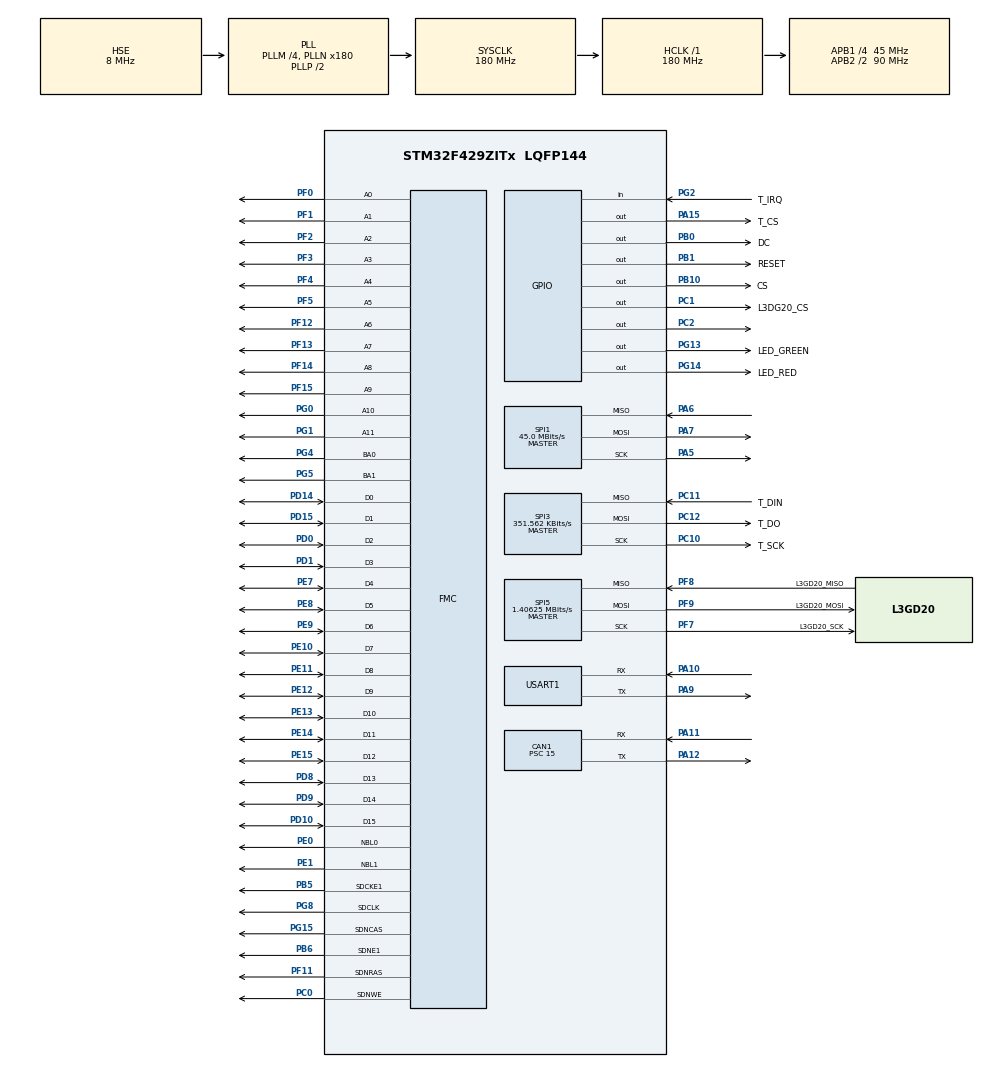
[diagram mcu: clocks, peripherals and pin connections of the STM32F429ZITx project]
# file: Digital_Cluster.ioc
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CAN1.BS1=CAN_BS1_2TQ
CAN1.BS2=CAN_BS2_3TQ
CAN1.CalculateBaudRate=500000
CAN1.CalculateTimeBit=2000
CAN1.CalculateTimeQuantum=333.3333333333333
CAN1.Prescaler=15
Dma.Request0=SPI1_TX
Dma.SPI1_TX.0.Direction=DMA_MEMORY_TO_PERIPH
Dma.SPI1_TX.0.FIFOMode=DMA_FIFOMODE_DISABLE
Dma.SPI1_TX.0.Instance=DMA2_Stream3
Dma.SPI1_TX.0.MemDataAlignment=DMA_MDATAALIGN_BYTE
Dma.SPI1_TX.0.MemInc=DMA_MINC_ENABLE
Dma.SPI1_TX.0.Mode=DMA_NORMAL
Dma.SPI1_TX.0.PeriphDataAlignment=DMA_PDATAALIGN_BYTE
Dma.SPI1_TX.0.PeriphInc=DMA_PINC_DISABLE
Dma.SPI1_TX.0.Priority=DMA_PRIORITY_LOW
FMC.CASLatency1=FMC_SDRAM_CAS_LATENCY_2
FMC.ExitSelfRefreshDelay1=7
FMC.LoadToActiveDelay1=2
FMC.RCDDelay1=2
FMC.RPDelay1=2
FMC.RPDelay2=2
FMC.ReadBurst1=FMC_SDRAM_RBURST_ENABLE
FMC.ReadBurst2=FMC_SDRAM_RBURST_ENABLE
FMC.RowCycleDelay1=6
FMC.RowCycleDelay2=6
FMC.SDClockPeriod1=FMC_SDRAM_CLOCK_PERIOD_2
FMC.SDClockPeriod2=FMC_SDRAM_CLOCK_PERIOD_2
FMC.SelfRefreshTime1=5
FMC.WriteRecoveryTime1=3
FREERTOS.Tasks01=defaultTask,8,256,StartDefaultTask,Default,NULL,Dynamic,NULL,NULL;cantask,48,1024,Can_Handler,As external,NULL,Dynamic,NULL,NULL;displaytask,40,1024,Display_Handler,As external,NULL,Dynamic,NULL,NULL;logtask,9,256,Log_Handler,As external,NULL,Dynamic,NULL,NULL;commontask,10,256,Common_Task,As external,NULL,Dynamic,NULL,NULL
FREERTOS.configCHECK_FOR_STACK_OVERFLOW=2
FREERTOS.configRECORD_STACK_HIGH_ADDRESS=1
FREERTOS.configTOTAL_HEAP_SIZE=15360
FREERTOS.configUSE_NEWLIB_REENTRANT=1
FREERTOS.configUSE_STATS_FORMATTING_FUNCTIONS=1
Mcu.Family=STM32F4
Mcu.Name=STM32F429ZITx
Mcu.Package=LQFP144
NVIC.CAN1_RX0_IRQn=true\:5\:0\:false\:false\:true\:true\:true\:true\:true
NVIC.CAN1_RX1_IRQn=true\:5\:0\:false\:false\:true\:true\:true\:true\:true
NVIC.CAN1_SCE_IRQn=true\:5\:0\:false\:false\:true\:true\:true\:true\:true
NVIC.CAN1_TX_IRQn=true\:5\:0\:false\:false\:true\:true\:true\:true\:true
NVIC.DMA2_Stream3_IRQn=true\:5\:0\:false\:false\:true\:true\:false\:true\:true
NVIC.FMC_IRQn=true\:5\:0\:false\:false\:true\:true\:true\:true\:true
NVIC.PriorityGroup=NVIC_PRIORITYGROUP_4
NVIC.SPI3_IRQn=true\:5\:0\:false\:false\:true\:true\:true\:true\:true
NVIC.SPI5_IRQn=true\:5\:0\:false\:false\:true\:true\:true\:true\:true
NVIC.TIM6_DAC_IRQn=true\:15\:0\:false\:false\:true\:false\:false\:true\:true
NVIC.TimeBase=TIM6_DAC_IRQn
NVIC.TimeBaseIP=TIM6
NVIC.USART1_IRQn=true\:5\:0\:false\:false\:true\:true\:true\:true\:true
PA10.Mode=Asynchronous
PA10.Signal=USART1_RX
PA11.Mode=CAN_Activate
PA11.Signal=CAN1_RX
PA12.Mode=CAN_Activate
PA12.Signal=CAN1_TX
PA13.Mode=Serial_Wire
PA13.Signal=SYS_JTMS-SWDIO
PA14.Mode=Serial_Wire
PA14.Signal=SYS_JTCK-SWCLK
PA15.GPIO_Label=T_CS
PA15.Signal=GPIO_Output
PA5.Mode=Full_Duplex_Master
PA5.Signal=SPI1_SCK
PA6.Mode=Full_Duplex_Master
PA6.Signal=SPI1_MISO
PA7.Mode=Full_Duplex_Master
PA7.Signal=SPI1_MOSI
PA9.Mode=Asynchronous
PA9.Signal=USART1_TX
PB0.GPIO_Label=DC
PB0.Signal=GPIO_Output
PB1.GPIO_Label=RESET
PB1.Signal=GPIO_Output
PB10.GPIO_Label=CS
PB10.Signal=GPIO_Output
PB5.Mode=SdramChipSelect2_1
PB5.Signal=FMC_SDCKE1
PB6.Mode=SdramChipSelect2_1
PB6.Signal=FMC_SDNE1
PC0.Signal=FMC_SDNWE
PC1.GPIO_Label=L3DG20_CS
PC1.Signal=GPIO_Output
PC10.GPIO_Label=T_SCK
PC10.Mode=Full_Duplex_Master
PC10.Signal=SPI3_SCK
PC11.GPIO_Label=T_DIN
PC11.Mode=Full_Duplex_Master
PC11.Signal=SPI3_MISO
PC12.GPIO_Label=T_DO
PC12.Mode=Full_Duplex_Master
PC12.Signal=SPI3_MOSI
PC14/OSC32_IN.Mode=LSE-External-Oscillator
PC14/OSC32_IN.Signal=RCC_OSC32_IN
PC15/OSC32_OUT.Mode=LSE-External-Oscillator
PC15/OSC32_OUT.Signal=RCC_OSC32_OUT
PC2.Signal=GPIO_Output
PD0.Signal=FMC_D2_DA2
PD1.Signal=FMC_D3_DA3
PD10.Signal=FMC_D15_DA15
PD14.Signal=FMC_D0_DA0
PD15.Signal=FMC_D1_DA1
PD8.Signal=FMC_D13_DA13
PD9.Signal=FMC_D14_DA14
PE0.Signal=FMC_NBL0
PE1.Signal=FMC_NBL1
PE10.Signal=FMC_D7_DA7
PE11.Signal=FMC_D8_DA8
PE12.Signal=FMC_D9_DA9
PE13.Signal=FMC_D10_DA10
PE14.Signal=FMC_D11_DA11
PE15.Signal=FMC_D12_DA12
PE7.Signal=FMC_D4_DA4
PE8.Signal=FMC_D5_DA5
PE9.Signal=FMC_D6_DA6
PF0.Signal=FMC_A0
PF1.Signal=FMC_A1
PF11.Signal=FMC_SDNRAS
PF12.Signal=FMC_A6
PF13.Signal=FMC_A7
PF14.Signal=FMC_A8
PF15.Signal=FMC_A9
PF2.Signal=FMC_A2
PF3.Signal=FMC_A3
PF4.Signal=FMC_A4
PF5.Signal=FMC_A5
PF7.GPIO_Label=L3GD20_SCK
PF7.Mode=Full_Duplex_Master
PF7.Signal=SPI5_SCK
PF8.GPIO_Label=L3GD20_MISO
PF8.Mode=Full_Duplex_Master
PF8.Signal=SPI5_MISO
PF9.GPIO_Label=L3GD20_MOSI
PF9.Mode=Full_Duplex_Master
PF9.Signal=SPI5_MOSI
PG0.Signal=FMC_A10
PG1.Signal=FMC_A11
PG13.GPIO_Label=LED_GREEN
PG13.Signal=GPIO_Output
PG14.GPIO_Label=LED_RED
PG14.Signal=GPIO_Output
PG15.Signal=FMC_SDNCAS
PG2.GPIO_Label=T_IRQ
PG2.Signal=GPIO_Input
PG4.Signal=FMC_A14_BA0
PG5.Signal=FMC_A15_BA1
PG8.Signal=FMC_SDCLK
PH0/OSC_IN.Mode=HSE-External-Oscillator
PH0/OSC_IN.Signal=RCC_OSC_IN
PH1/OSC_OUT.Mode=HSE-External-Oscillator
PH1/OSC_OUT.Signal=RCC_OSC_OUT
ProjectManager.HeapSize=0x200
ProjectManager.StackSize=0x400
ProjectManager.TargetToolchain=STM32CubeIDE
RCC.48MHZClocksFreq_Value=45000000
RCC.AHBFreq_Value=180000000
RCC.APB1CLKDivider=RCC_HCLK_DIV4
RCC.APB1Freq_Value=45000000
RCC.APB1TimFreq_Value=90000000
RCC.APB2CLKDivider=RCC_HCLK_DIV2
RCC.APB2Freq_Value=90000000
RCC.APB2TimFreq_Value=180000000
RCC.CortexFreq_Value=180000000
RCC.HCLKFreq_Value=180000000
RCC.HSE_VALUE=8000000
RCC.HSI_VALUE=16000000
RCC.PLLM=4
RCC.PLLN=180
RCC.PLLQ=8
RCC.PLLSourceVirtual=RCC_PLLSOURCE_HSE
RCC.RCC_RTC_Clock_SourceVirtual=RCC_RTCCLKSOURCE_LSE
RCC.SYSCLKFreq_VALUE=180000000
RCC.SYSCLKSource=RCC_SYSCLKSOURCE_PLLCLK
RCC.VCOOutputFreq_Value=360000000
RTC.Date=2
RTC.Format=RTC_FORMAT_BCD
RTC.Hours=12
RTC.Month=RTC_MONTH_OCTOBER
RTC.StoreOperation=RTC_STOREOPERATION_SET
RTC.WeekDay=RTC_WEEKDAY_THURSDAY
RTC.Year=25
SH.FMC_A0.0=FMC_A0,12b-sda1
SH.FMC_A1.0=FMC_A1,12b-sda1
SH.FMC_A10.0=FMC_A10,12b-sda1
SH.FMC_A11.0=FMC_A11,12b-sda1
SH.FMC_A14_BA0.0=FMC_BA0,FourSdramBanks1
SH.FMC_A15_BA1.0=FMC_BA1,FourSdramBanks1
SH.FMC_A2.0=FMC_A2,12b-sda1
SH.FMC_A3.0=FMC_A3,12b-sda1
SH.FMC_A4.0=FMC_A4,12b-sda1
SH.FMC_A5.0=FMC_A5,12b-sda1
SH.FMC_A6.0=FMC_A6,12b-sda1
SH.FMC_A7.0=FMC_A7,12b-sda1
SH.FMC_A8.0=FMC_A8,12b-sda1
SH.FMC_A9.0=FMC_A9,12b-sda1
SH.FMC_D0_DA0.0=FMC_D0,sd-16b-d1
SH.FMC_D10_DA10.0=FMC_D10,sd-16b-d1
SH.FMC_D11_DA11.0=FMC_D11,sd-16b-d1
SH.FMC_D12_DA12.0=FMC_D12,sd-16b-d1
SH.FMC_D13_DA13.0=FMC_D13,sd-16b-d1
SH.FMC_D14_DA14.0=FMC_D14,sd-16b-d1
SH.FMC_D15_DA15.0=FMC_D15,sd-16b-d1
SH.FMC_D1_DA1.0=FMC_D1,sd-16b-d1
SH.FMC_D2_DA2.0=FMC_D2,sd-16b-d1
SH.FMC_D3_DA3.0=FMC_D3,sd-16b-d1
SH.FMC_D4_DA4.0=FMC_D4,sd-16b-d1
SH.FMC_D5_DA5.0=FMC_D5,sd-16b-d1
SH.FMC_D6_DA6.0=FMC_D6,sd-16b-d1
SH.FMC_D7_DA7.0=FMC_D7,sd-16b-d1
SH.FMC_D8_DA8.0=FMC_D8,sd-16b-d1
SH.FMC_D9_DA9.0=FMC_D9,sd-16b-d1
SH.FMC_NBL0.0=FMC_NBL0,Sd2ByteEnable1
SH.FMC_NBL1.0=FMC_NBL1,Sd2ByteEnable1
SH.FMC_SDCLK.0=FMC_SDCLK,12b-sda1
SH.FMC_SDNCAS.0=FMC_SDNCAS,12b-sda1
SH.FMC_SDNRAS.0=FMC_SDNRAS,12b-sda1
SH.FMC_SDNWE.0=FMC_SDNWE,12b-sda1
SPI1.BaudRatePrescaler=SPI_BAUDRATEPRESCALER_2
SPI1.CLKPolarity=SPI_POLARITY_LOW
SPI1.CalculateBaudRate=45.0 MBits/s
SPI1.Direction=SPI_DIRECTION_2LINES
SPI1.Mode=SPI_MODE_MASTER
SPI1.VirtualType=VM_MASTER
SPI3.BaudRatePrescaler=SPI_BAUDRATEPRESCALER_128
SPI3.CalculateBaudRate=351.562 KBits/s
SPI3.Direction=SPI_DIRECTION_2LINES
SPI3.Mode=SPI_MODE_MASTER
SPI3.VirtualType=VM_MASTER
SPI5.BaudRatePrescaler=SPI_BAUDRATEPRESCALER_64
SPI5.CLKPhase=SPI_PHASE_2EDGE
SPI5.CLKPolarity=SPI_POLARITY_HIGH
SPI5.CalculateBaudRate=1.40625 MBits/s
SPI5.Direction=SPI_DIRECTION_2LINES
SPI5.Mode=SPI_MODE_MASTER
SPI5.VirtualType=VM_MASTER
STMicroelectronics.X-CUBE-AI.10.2.0.HeapSize=0x800
STMicroelectronics.X-CUBE-AI.10.2.0.ModelActualCompression-c4c612200d39c134d31054f2b4c9227c15ce056d76292374ecc4cde34c427f1f=0.0
STMicroelectronics.X-CUBE-AI.10.2.0.ModelCompression-c4c612200d39c134d31054f2b4c9227c15ce056d76292374ecc4cde34c427f1f=None
STMicroelectronics.X-CUBE-AI.10.2.0.ModelFlashOccupation-c4c612200d39c134d31054f2b4c9227c15ce056d76292374ecc4cde34c427f1f=0
STMicroelectronics.X-CUBE-AI.10.2.0.ModelHashList=c4c612200d39c134d31054f2b4c9227c15ce056d76292374ecc4cde34c427f1f
STMicroelectronics.X-CUBE-AI.10.2.0.ModelKind-c4c612200d39c134d31054f2b4c9227c15ce056d76292374ecc4cde34c427f1f=KERAS
STMicroelectronics.X-CUBE-AI.10.2.0.ModelMacc-c4c612200d39c134d31054f2b4c9227c15ce056d76292374ecc4cde34c427f1f=0
STMicroelectronics.X-CUBE-AI.10.2.0.ModelName-c4c612200d39c134d31054f2b4c9227c15ce056d76292374ecc4cde34c427f1f=network
STMicroelectronics.X-CUBE-AI.10.2.0.ModelNameList=network
STMicroelectronics.X-CUBE-AI.10.2.0.ModelRamOccupation-c4c612200d39c134d31054f2b4c9227c15ce056d76292374ecc4cde34c427f1f=0
STMicroelectronics.X-CUBE-AI.10.2.0.ModelType-c4c612200d39c134d31054f2b4c9227c15ce056d76292374ecc4cde34c427f1f=STM32Cube.AI MCU runtime
STMicroelectronics.X-CUBE-AI.10.2.0.ReadyForCodeGeneration=false
STMicroelectronics.X-CUBE-AI.10.2.0.StackSize=0x800
STMicroelectronics.X-CUBE-AI.10.2.0.WorkingBufferStartAddrList=0xFFFFFFFF
STMicroelectronics.X-CUBE-AI.10.2.0.copyWeightToRam=false
STMicroelectronics.X-CUBE-AI.10.2.0.customLayerConfigEnabled=false
STMicroelectronics.X-CUBE-AI.10.2.0.noOnnxIoTranspose=false
STMicroelectronics.X-CUBE-AI.10.2.0.useInputAllocation=true
STMicroelectronics.X-CUBE-AI.10.2.0.useOutputAllocation=true
USART1.VirtualMode=VM_ASYNC
VP_FREERTOS_VS_CMSIS_V2.Mode=CMSIS_V2
VP_RTC_VS_RTC_Activate.Mode=RTC_Enabled
VP_RTC_VS_RTC_Calendar.Mode=RTC_Calendar
VP_SYS_VS_tim6.Mode=TIM6
board=custom

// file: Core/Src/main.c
/* USER CODE BEGIN Header */
/**
 ******************************************************************************
 * @file           : main.c
 * @brief          : Main program body
 ******************************************************************************
 * @attention
 *
 * Copyright (c) 2025 STMicroelectronics.
 * All rights reserved.
 *
 * This software is licensed under terms that can be found in the LICENSE file
 * in the root directory of this software component.
 * If no LICENSE file comes with this software, it is provided AS-IS.
 *
 ******************************************************************************
 */
/* USER CODE END Header */
#include "main.h"
#include "cmsis_os.h"

/* USER CODE BEGIN Includes */

#include "../Device_Driver/lvgl_port_disp.h"
#include "../Device_Driver/ST7789/ST7789_GFX.h"
#include "../Device_Driver/ST7789/ST7789_STM32_Driver.h"
#include "../Device_Driver/FMC_Driver/fmc_driver.h"
#include "../App/Handler_task.h"
#include "ui.h"
#include "task.h"
#include <stdio.h>
#include "../App/display_task.h"
#include "../App/can_task.h"

/* USER CODE END Includes */

/* USER CODE BEGIN PM */
EXTERNAL_SDRAM uint32_t count_externalram;
/* USER CODE END PM */

CAN_HandleTypeDef hcan1;

RTC_HandleTypeDef hrtc;

SPI_HandleTypeDef hspi1;
SPI_HandleTypeDef hspi3;
SPI_HandleTypeDef hspi5;
DMA_HandleTypeDef hdma_spi1_tx;

UART_HandleTypeDef huart1;

SDRAM_HandleTypeDef hsdram1;

/* Definitions for defaultTask */
osThreadId_t defaultTaskHandle;
const osThreadAttr_t defaultTask_attributes = {
  .name = "defaultTask",
  .stack_size = 256 * 4,
  .priority = (osPriority_t) osPriorityLow,
};
/* Definitions for cantask */
osThreadId_t cantaskHandle;
const osThreadAttr_t cantask_attributes = {
  .name = "cantask",
  .stack_size = 1024 * 4,
  .priority = (osPriority_t) osPriorityRealtime,
};
/* Definitions for displaytask */
osThreadId_t displaytaskHandle;
const osThreadAttr_t displaytask_attributes = {
  .name = "displaytask",
  .stack_size = 1024 * 4,
  .priority = (osPriority_t) osPriorityHigh,
};
/* Definitions for logtask */
osThreadId_t logtaskHandle;
const osThreadAttr_t logtask_attributes = {
  .name = "logtask",
  .stack_size = 256 * 4,
  .priority = (osPriority_t) osPriorityLow1,
};
/* Definitions for commontask */
osThreadId_t commontaskHandle;
const osThreadAttr_t commontask_attributes = {
  .name = "commontask",
  .stack_size = 256 * 4,
  .priority = (osPriority_t) osPriorityLow2,
};

void SystemClock_Config(void);
static void MX_GPIO_Init(void);
static void MX_DMA_Init(void);
static void MX_SPI1_Init(void);
static void MX_USART1_UART_Init(void);
static void MX_RTC_Init(void);
static void MX_SPI3_Init(void);
static void MX_SPI5_Init(void);
static void MX_CAN1_Init(void);
static void MX_FMC_Init(void);
void StartDefaultTask(void *argument);
extern void Can_Handler(void *argument);
extern void Display_Handler(void *argument);
extern void Log_Handler(void *argument);
extern void Common_Task(void *argument);

/* USER CODE BEGIN 0 */

void PrintTaskMemoryUsage(void)
{
    // Cấp một buffer đủ lớn để chứa chuỗi text bảng thống kê
    char statsBuffer[512];
    vTaskList(statsBuffer);

    printf("\r\n--- TASK MEMORY USAGE ---\r\n");
    printf("Name\t\tState\tPrio\tStackRemaining\tNum\r\n");
    printf("--------------------------------------------------\r\n");
    printf("%s\r\n", statsBuffer);
}
/* USER CODE END 0 */

int main(void)
{

  /* MCU Configuration--------------------------------------------------------*/

  /* Reset of all peripherals, Initializes the Flash interface and the Systick. */
  HAL_Init();

  /* Configure the system clock */
  SystemClock_Config();

  /* Initialize all configured peripherals */
  MX_GPIO_Init();
  MX_DMA_Init();
  MX_SPI1_Init();
  MX_USART1_UART_Init();
  MX_RTC_Init();
  MX_SPI3_Init();
  MX_SPI5_Init();
  MX_CAN1_Init();
  MX_FMC_Init();
  /* USER CODE BEGIN 2 */
  FMC_Config();
  /* USER CODE END 2 */

  /* Init scheduler */
  osKernelInitialize();

  /* Create the thread(s) */
  /* creation of defaultTask */
  defaultTaskHandle = osThreadNew(StartDefaultTask, NULL, &defaultTask_attributes);

  /* creation of cantask */
  cantaskHandle = osThreadNew(Can_Handler, NULL, &cantask_attributes);

  /* creation of displaytask */
  displaytaskHandle = osThreadNew(Display_Handler, NULL, &displaytask_attributes);

  /* creation of logtask */
  logtaskHandle = osThreadNew(Log_Handler, NULL, &logtask_attributes);

  /* creation of commontask */
  commontaskHandle = osThreadNew(Common_Task, NULL, &commontask_attributes);

  /* Start scheduler */
  osKernelStart();

  /* We should never get here as control is now taken by the scheduler */
  /* Infinite loop */
  while (1) {

    /* USER CODE BEGIN 3 */

    /* USER CODE END WHILE */

    /* USER CODE BEGIN 3 */
  }
  /* USER CODE END 3 */
}

void SystemClock_Config(void)
{
  RCC_OscInitTypeDef RCC_OscInitStruct = {0};
  RCC_ClkInitTypeDef RCC_ClkInitStruct = {0};

  /** Configure the main internal regulator output voltage
  */
  __HAL_RCC_PWR_CLK_ENABLE();
  __HAL_PWR_VOLTAGESCALING_CONFIG(PWR_REGULATOR_VOLTAGE_SCALE1);

  /** Initializes the RCC Oscillators according to the specified parameters
  * in the RCC_OscInitTypeDef structure.
  */
  RCC_OscInitStruct.OscillatorType = RCC_OSCILLATORTYPE_HSE|RCC_OSCILLATORTYPE_LSE;
  RCC_OscInitStruct.HSEState = RCC_HSE_ON;
  RCC_OscInitStruct.LSEState = RCC_LSE_ON;
  RCC_OscInitStruct.PLL.PLLState = RCC_PLL_ON;
  RCC_OscInitStruct.PLL.PLLSource = RCC_PLLSOURCE_HSE;
  RCC_OscInitStruct.PLL.PLLM = 4;
  RCC_OscInitStruct.PLL.PLLN = 180;
  RCC_OscInitStruct.PLL.PLLP = RCC_PLLP_DIV2;
  RCC_OscInitStruct.PLL.PLLQ = 8;
  if (HAL_RCC_OscConfig(&RCC_OscInitStruct) != HAL_OK)
  {
    Error_Handler();
  }

  /** Activate the Over-Drive mode
  */
  if (HAL_PWREx_EnableOverDrive() != HAL_OK)
  {
    Error_Handler();
  }

  /** Initializes the CPU, AHB and APB buses clocks
  */
  RCC_ClkInitStruct.ClockType = RCC_CLOCKTYPE_HCLK|RCC_CLOCKTYPE_SYSCLK
                              |RCC_CLOCKTYPE_PCLK1|RCC_CLOCKTYPE_PCLK2;
  RCC_ClkInitStruct.SYSCLKSource = RCC_SYSCLKSOURCE_PLLCLK;
  RCC_ClkInitStruct.AHBCLKDivider = RCC_SYSCLK_DIV1;
  RCC_ClkInitStruct.APB1CLKDivider = RCC_HCLK_DIV4;
  RCC_ClkInitStruct.APB2CLKDivider = RCC_HCLK_DIV2;

  if (HAL_RCC_ClockConfig(&RCC_ClkInitStruct, FLASH_LATENCY_5) != HAL_OK)
  {
    Error_Handler();
  }
}

static void MX_CAN1_Init(void)
{

  hcan1.Instance = CAN1;
  hcan1.Init.Prescaler = 15;
  hcan1.Init.Mode = CAN_MODE_NORMAL;
  hcan1.Init.SyncJumpWidth = CAN_SJW_1TQ;
  hcan1.Init.TimeSeg1 = CAN_BS1_2TQ;
  hcan1.Init.TimeSeg2 = CAN_BS2_3TQ;
  hcan1.Init.TimeTriggeredMode = DISABLE;
  hcan1.Init.AutoBusOff = DISABLE;
  hcan1.Init.AutoWakeUp = DISABLE;
  hcan1.Init.AutoRetransmission = DISABLE;
  hcan1.Init.ReceiveFifoLocked = DISABLE;
  hcan1.Init.TransmitFifoPriority = DISABLE;
  if (HAL_CAN_Init(&hcan1) != HAL_OK)
  {
    Error_Handler();
  }

}

static void MX_RTC_Init(void)
{

  RTC_TimeTypeDef sTime = {0};
  RTC_DateTypeDef sDate = {0};

  /** Initialize RTC Only
  */
  hrtc.Instance = RTC;
  hrtc.Init.HourFormat = RTC_HOURFORMAT_24;
  hrtc.Init.AsynchPrediv = 127;
  hrtc.Init.SynchPrediv = 255;
  hrtc.Init.OutPut = RTC_OUTPUT_DISABLE;
  hrtc.Init.OutPutPolarity = RTC_OUTPUT_POLARITY_HIGH;
  hrtc.Init.OutPutType = RTC_OUTPUT_TYPE_OPENDRAIN;
  if (HAL_RTC_Init(&hrtc) != HAL_OK)
  {
    Error_Handler();
  }

  /** Initialize RTC and set the Time and Date
  */
  sTime.Hours = 0x12;
  sTime.Minutes = 0x0;
  sTime.Seconds = 0x0;
  sTime.DayLightSaving = RTC_DAYLIGHTSAVING_NONE;
  sTime.StoreOperation = RTC_STOREOPERATION_SET;
  if (HAL_RTC_SetTime(&hrtc, &sTime, RTC_FORMAT_BCD) != HAL_OK)
  {
    Error_Handler();
  }
  sDate.WeekDay = RTC_WEEKDAY_THURSDAY;
  sDate.Month = RTC_MONTH_OCTOBER;
  sDate.Date = 0x2;
  sDate.Year = 0x25;

  if (HAL_RTC_SetDate(&hrtc, &sDate, RTC_FORMAT_BCD) != HAL_OK)
  {
    Error_Handler();
  }

}

static void MX_SPI1_Init(void)
{

  /* SPI1 parameter configuration*/
  hspi1.Instance = SPI1;
  hspi1.Init.Mode = SPI_MODE_MASTER;
  hspi1.Init.Direction = SPI_DIRECTION_2LINES;
  hspi1.Init.DataSize = SPI_DATASIZE_8BIT;
  hspi1.Init.CLKPolarity = SPI_POLARITY_LOW;
  hspi1.Init.CLKPhase = SPI_PHASE_1EDGE;
  hspi1.Init.NSS = SPI_NSS_SOFT;
  hspi1.Init.BaudRatePrescaler = SPI_BAUDRATEPRESCALER_2;
  hspi1.Init.FirstBit = SPI_FIRSTBIT_MSB;
  hspi1.Init.TIMode = SPI_TIMODE_DISABLE;
  hspi1.Init.CRCCalculation = SPI_CRCCALCULATION_DISABLE;
  hspi1.Init.CRCPolynomial = 10;
  if (HAL_SPI_Init(&hspi1) != HAL_OK)
  {
    Error_Handler();
  }

}

static void MX_SPI3_Init(void)
{

  /* SPI3 parameter configuration*/
  hspi3.Instance = SPI3;
  hspi3.Init.Mode = SPI_MODE_MASTER;
  hspi3.Init.Direction = SPI_DIRECTION_2LINES;
  hspi3.Init.DataSize = SPI_DATASIZE_8BIT;
  hspi3.Init.CLKPolarity = SPI_POLARITY_LOW;
  hspi3.Init.CLKPhase = SPI_PHASE_1EDGE;
  hspi3.Init.NSS = SPI_NSS_SOFT;
  hspi3.Init.BaudRatePrescaler = SPI_BAUDRATEPRESCALER_128;
  hspi3.Init.FirstBit = SPI_FIRSTBIT_MSB;
  hspi3.Init.TIMode = SPI_TIMODE_DISABLE;
  hspi3.Init.CRCCalculation = SPI_CRCCALCULATION_DISABLE;
  hspi3.Init.CRCPolynomial = 10;
  if (HAL_SPI_Init(&hspi3) != HAL_OK)
  {
    Error_Handler();
  }

}

static void MX_SPI5_Init(void)
{

  /* SPI5 parameter configuration*/
  hspi5.Instance = SPI5;
  hspi5.Init.Mode = SPI_MODE_MASTER;
  hspi5.Init.Direction = SPI_DIRECTION_2LINES;
  hspi5.Init.DataSize = SPI_DATASIZE_8BIT;
  hspi5.Init.CLKPolarity = SPI_POLARITY_HIGH;
  hspi5.Init.CLKPhase = SPI_PHASE_2EDGE;
  hspi5.Init.NSS = SPI_NSS_SOFT;
  hspi5.Init.BaudRatePrescaler = SPI_BAUDRATEPRESCALER_64;
  hspi5.Init.FirstBit = SPI_FIRSTBIT_MSB;
  hspi5.Init.TIMode = SPI_TIMODE_DISABLE;
  hspi5.Init.CRCCalculation = SPI_CRCCALCULATION_DISABLE;
  hspi5.Init.CRCPolynomial = 10;
  if (HAL_SPI_Init(&hspi5) != HAL_OK)
  {
    Error_Handler();
  }

}

static void MX_USART1_UART_Init(void)
{

  huart1.Instance = USART1;
  huart1.Init.BaudRate = 115200;
  huart1.Init.WordLength = UART_WORDLENGTH_8B;
  huart1.Init.StopBits = UART_STOPBITS_1;
  huart1.Init.Parity = UART_PARITY_NONE;
  huart1.Init.Mode = UART_MODE_TX_RX;
  huart1.Init.HwFlowCtl = UART_HWCONTROL_NONE;
  huart1.Init.OverSampling = UART_OVERSAMPLING_16;
  if (HAL_UART_Init(&huart1) != HAL_OK)
  {
    Error_Handler();
  }

}

static void MX_DMA_Init(void)
{

  /* DMA controller clock enable */
  __HAL_RCC_DMA2_CLK_ENABLE();

  /* DMA interrupt init */
  /* DMA2_Stream3_IRQn interrupt configuration */
  HAL_NVIC_SetPriority(DMA2_Stream3_IRQn, 5, 0);
  HAL_NVIC_EnableIRQ(DMA2_Stream3_IRQn);

}

/* FMC initialization function */
static void MX_FMC_Init(void)
{

  FMC_SDRAM_TimingTypeDef SdramTiming = {0};

  /** Perform the SDRAM1 memory initialization sequence
  */
  hsdram1.Instance = FMC_SDRAM_DEVICE;
  /* hsdram1.Init */
  hsdram1.Init.SDBank = FMC_SDRAM_BANK2;
  hsdram1.Init.ColumnBitsNumber = FMC_SDRAM_COLUMN_BITS_NUM_8;
  hsdram1.Init.RowBitsNumber = FMC_SDRAM_ROW_BITS_NUM_12;
  hsdram1.Init.MemoryDataWidth = FMC_SDRAM_MEM_BUS_WIDTH_16;
  hsdram1.Init.InternalBankNumber = FMC_SDRAM_INTERN_BANKS_NUM_4;
  hsdram1.Init.CASLatency = FMC_SDRAM_CAS_LATENCY_2;
  hsdram1.Init.WriteProtection = FMC_SDRAM_WRITE_PROTECTION_DISABLE;
  hsdram1.Init.SDClockPeriod = FMC_SDRAM_CLOCK_PERIOD_2;
  hsdram1.Init.ReadBurst = FMC_SDRAM_RBURST_ENABLE;
  hsdram1.Init.ReadPipeDelay = FMC_SDRAM_RPIPE_DELAY_0;
  /* SdramTiming */
  SdramTiming.LoadToActiveDelay = 2;
  SdramTiming.ExitSelfRefreshDelay = 7;
  SdramTiming.SelfRefreshTime = 5;
  SdramTiming.RowCycleDelay = 6;
  SdramTiming.WriteRecoveryTime = 3;
  SdramTiming.RPDelay = 2;
  SdramTiming.RCDDelay = 2;

  if (HAL_SDRAM_Init(&hsdram1, &SdramTiming) != HAL_OK)
  {
    Error_Handler( );
  }

}

static void MX_GPIO_Init(void)
{
  GPIO_InitTypeDef GPIO_InitStruct = {0};

  /* GPIO Ports Clock Enable */
  __HAL_RCC_GPIOC_CLK_ENABLE();
  __HAL_RCC_GPIOF_CLK_ENABLE();
  __HAL_RCC_GPIOH_CLK_ENABLE();
  __HAL_RCC_GPIOA_CLK_ENABLE();
  __HAL_RCC_GPIOB_CLK_ENABLE();
  __HAL_RCC_GPIOG_CLK_ENABLE();
  __HAL_RCC_GPIOE_CLK_ENABLE();
  __HAL_RCC_GPIOD_CLK_ENABLE();

  /*Configure GPIO pin Output Level */
  HAL_GPIO_WritePin(GPIOC, L3DG20_CS_Pin|GPIO_PIN_2, GPIO_PIN_RESET);

  /*Configure GPIO pin Output Level */
  HAL_GPIO_WritePin(GPIOB, DC_Pin|RESET_Pin|CS_Pin, GPIO_PIN_RESET);

  /*Configure GPIO pin Output Level */
  HAL_GPIO_WritePin(T_CS_GPIO_Port, T_CS_Pin, GPIO_PIN_RESET);

  /*Configure GPIO pin Output Level */
  HAL_GPIO_WritePin(GPIOG, LED_GREEN_Pin|LED_RED_Pin, GPIO_PIN_RESET);

  /*Configure GPIO pins : L3DG20_CS_Pin PC2 */
  GPIO_InitStruct.Pin = L3DG20_CS_Pin|GPIO_PIN_2;
  GPIO_InitStruct.Mode = GPIO_MODE_OUTPUT_PP;
  GPIO_InitStruct.Pull = GPIO_NOPULL;
  GPIO_InitStruct.Speed = GPIO_SPEED_FREQ_LOW;
  HAL_GPIO_Init(GPIOC, &GPIO_InitStruct);

  /*Configure GPIO pins : DC_Pin RESET_Pin CS_Pin */
  GPIO_InitStruct.Pin = DC_Pin|RESET_Pin|CS_Pin;
  GPIO_InitStruct.Mode = GPIO_MODE_OUTPUT_PP;
  GPIO_InitStruct.Pull = GPIO_NOPULL;
  GPIO_InitStruct.Speed = GPIO_SPEED_FREQ_LOW;
  HAL_GPIO_Init(GPIOB, &GPIO_InitStruct);

  /*Configure GPIO pin : T_IRQ_Pin */
  GPIO_InitStruct.Pin = T_IRQ_Pin;
  GPIO_InitStruct.Mode = GPIO_MODE_INPUT;
  GPIO_InitStruct.Pull = GPIO_NOPULL;
  HAL_GPIO_Init(T_IRQ_GPIO_Port, &GPIO_InitStruct);

  /*Configure GPIO pin : T_CS_Pin */
  GPIO_InitStruct.Pin = T_CS_Pin;
  GPIO_InitStruct.Mode = GPIO_MODE_OUTPUT_PP;
  GPIO_InitStruct.Pull = GPIO_NOPULL;
  GPIO_InitStruct.Speed = GPIO_SPEED_FREQ_LOW;
  HAL_GPIO_Init(T_CS_GPIO_Port, &GPIO_InitStruct);

  /*Configure GPIO pins : LED_GREEN_Pin LED_RED_Pin */
  GPIO_InitStruct.Pin = LED_GREEN_Pin|LED_RED_Pin;
  GPIO_InitStruct.Mode = GPIO_MODE_OUTPUT_PP;
  GPIO_InitStruct.Pull = GPIO_NOPULL;
  GPIO_InitStruct.Speed = GPIO_SPEED_FREQ_LOW;
  HAL_GPIO_Init(GPIOG, &GPIO_InitStruct);

}

/* USER CODE BEGIN 4 */
int __io_putchar(int ch) {
  HAL_UART_Transmit(&huart1, (uint8_t *)&ch, 1, 1000);
  return ch;
}

/* USER CODE END 4 */

void StartDefaultTask(void *argument)
{
  /* USER CODE BEGIN 5 */
//	osThreadFlagsWait(INIT_FLAG_START, osFlagsWaitAny, osWaitForever);
	printf("Task default is begin\r\n");
	printf("Start program!!\r\n");
//	PrintTaskMemoryUsage();
	count_externalram = 0;
	osThreadFlagsSet(displaytaskHandle, INIT_FLAG_START);
  /* USER CODE END 2 */

  /* Infinite loop */
  /* USER CODE BEGIN WHILE */

  /* Infinite loop */
  for(;;)
  {
	  count_externalram++;
	  printf("Counter SDRAM: %ld \r\n", count_externalram);
	  osDelay(500);
  }
  /* USER CODE END 5 */
}

void HAL_TIM_PeriodElapsedCallback(TIM_HandleTypeDef *htim)
{
  if (htim->Instance == TIM6) {
    HAL_IncTick();
  }
  /* USER CODE BEGIN Callback 1 */
  lv_tick_inc(1);
  /* USER CODE END Callback 1 */
}

void Error_Handler(void)
{
  __disable_irq();
  while (1) {
  }
}

#ifdef  USE_FULL_ASSERT
/**
  * @brief  Reports the name of the source file and the source line number
  *         where the assert_param error has occurred.
  * @param  file: pointer to the source file name
  * @param  line: assert_param error line source number
  * @retval None
  */
void assert_failed(uint8_t *file, uint32_t line)
{
  /* USER CODE BEGIN 6 */
  /* User can add his own implementation to report the file name and line
     number, ex: printf("Wrong parameters value: file %s on line %d\r\n", file,
     line) */
  /* USER CODE END 6 */
}
#endif /* USE_FULL_ASSERT */

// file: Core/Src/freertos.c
/* USER CODE BEGIN Header */
/**
  ******************************************************************************
  * File Name          : freertos.c
  * Description        : Code for freertos applications
  ******************************************************************************
  * @attention
  *
  * Copyright (c) 2026 STMicroelectronics.
  * All rights reserved.
  *
  * This software is licensed under terms that can be found in the LICENSE file
  * in the root directory of this software component.
  * If no LICENSE file comes with this software, it is provided AS-IS.
  *
  ******************************************************************************
  */
/* USER CODE END Header */

#include "FreeRTOS.h"
#include "task.h"
#include "main.h"

/* Hook prototypes */
void vApplicationStackOverflowHook(xTaskHandle xTask, signed char *pcTaskName);

/* USER CODE BEGIN 4 */
void vApplicationStackOverflowHook(xTaskHandle xTask, signed char *pcTaskName)
{
  // Bị tràn stack ở task pcTaskName!
	printf("ERROR: Tran Stack tai Task [%s]!\r\n", pcTaskName);
	__disable_irq();
	while (1); // Dừng lại để debug bằng breakpoint
   /* Run time stack overflow checking is performed if
   configCHECK_FOR_STACK_OVERFLOW is defined to 1 or 2. This hook function is
   called if a stack overflow is detected. */
}
/* USER CODE END 4 */
